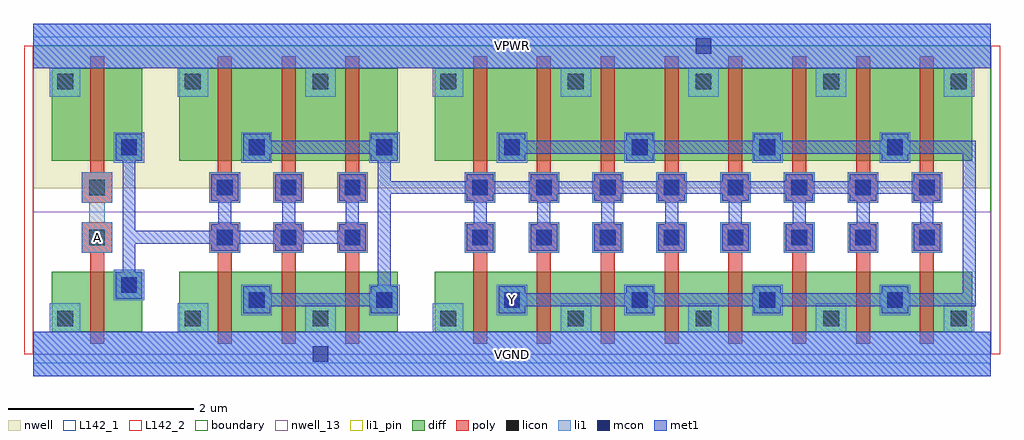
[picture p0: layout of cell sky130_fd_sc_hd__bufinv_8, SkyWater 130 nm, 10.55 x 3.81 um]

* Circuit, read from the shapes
.subckt sky130_fd_sc_hd__bufinv_8 A VGND VPWR Y
XM1 n1 A VGND VSUBS sky130_fd_pr__nfet_01v8 w=0.65 l=0.15
XM2 n2 n1 VGND VSUBS sky130_fd_pr__nfet_01v8 w=0.65 l=0.15 m=3
XM3 Y n2 VGND VSUBS sky130_fd_pr__nfet_01v8 w=0.65 l=0.15 m=8
XM4 n1 A VPWR n3 sky130_fd_pr__pfet_01v8 w=1 l=0.15
XM5 n2 n1 VPWR n3 sky130_fd_pr__pfet_01v8 w=1 l=0.15 m=3
XM6 Y n2 VPWR n3 sky130_fd_pr__pfet_01v8 w=1 l=0.15 m=8
.ends

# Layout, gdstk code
import gdstk
lib = gdstk.Library(unit=1e-6, precision=1e-09)
def R(c, l, rs):  # rectangles x0, y0, x1, y1
    for r in rs: c.add(gdstk.rectangle(r[:2], r[2:], *l))
def A(c, l, x, y, w, h, nx, ny, dx, dy):  # array of equal rectangles
    R(c, l, [(x+i*dx, y+j*dy, x+i*dx+w, y+j*dy+h) for i in range(nx) for j in range(ny)])
def P(c, l, *ps):  # polygons
    for p in ps: c.add(gdstk.Polygon(p, *l))
nwell_13 = (64, 13)
nwell = (64, 20)
diff = (65, 20)
poly = (66, 20)
licon = (66, 44)
li1_pin = (67, 16)
li1 = (67, 20)
mcon = (67, 44)
met1 = (68, 20)
L142_1 = (142, 1)
L142_2 = (142, 2)
boundary = (235, 4)

sky130_fd_sc_hd__bufinv_ = lib.new_cell('sky130_fd_sc_hd__bufinv_8')
R(sky130_fd_sc_hd__bufinv_, nwell_13, [(0,0,10.35,1.54)])
R(sky130_fd_sc_hd__bufinv_, nwell, [(0,1.79,10.35,3.33)])
A(sky130_fd_sc_hd__bufinv_, diff, 4.755, 0.24, 0.69, 0.65, 7, 1, 0.69, 0)
A(sky130_fd_sc_hd__bufinv_, diff, 4.755, 2.09, 0.69, 1, 7, 1, 0.69, 0)
R(sky130_fd_sc_hd__bufinv_, diff, [(0.2,0.24,1.18,0.89), (0.2,0.24,0.615,0.89), (0.615,0.24,1.18,0.89), (1.58,0.24,3.94,0.89), (1.58,0.24,1.995,0.89), (1.995,0.24,2.685,0.89), (2.685,0.24,3.375,0.89), (3.375,0.24,3.94,0.89), (4.34,0.24,10.15,0.89), (4.34,0.24,4.755,0.89), (9.585,0.24,10.15,0.89), (0.2,2.09,1.18,3.09), (0.2,2.09,0.615,3.09), (0.615,2.09,1.18,3.09), (1.58,2.09,3.94,3.09), (1.58,2.09,1.995,3.09), (1.995,2.09,2.685,3.09), (2.685,2.09,3.375,3.09), (3.375,2.09,3.94,3.09), (4.34,2.09,10.15,3.09), (4.34,2.09,4.755,3.09), (9.585,2.09,10.15,3.09)])
P(sky130_fd_sc_hd__bufinv_, poly, [(4.755,0.11),(4.755,1.095),(4.665,1.095),(4.665,1.425),(4.995,1.425),(4.995,1.095),(4.905,1.095),(4.905,0.11)],
  [(5.445,0.11),(5.445,1.095),(5.355,1.095),(5.355,1.425),(5.685,1.425),(5.685,1.095),(5.595,1.095),(5.595,0.11)],
  [(6.135,0.11),(6.135,1.095),(6.045,1.095),(6.045,1.425),(6.375,1.425),(6.375,1.095),(6.285,1.095),(6.285,0.11)],
  [(6.825,0.11),(6.825,1.095),(6.735,1.095),(6.735,1.425),(7.065,1.425),(7.065,1.095),(6.975,1.095),(6.975,0.11)],
  [(7.515,0.11),(7.515,1.095),(7.425,1.095),(7.425,1.425),(7.755,1.425),(7.755,1.095),(7.665,1.095),(7.665,0.11)],
  [(8.205,0.11),(8.205,1.095),(8.115,1.095),(8.115,1.425),(8.445,1.425),(8.445,1.095),(8.355,1.095),(8.355,0.11)],
  [(8.895,0.11),(8.895,1.095),(8.805,1.095),(8.805,1.425),(9.135,1.425),(9.135,1.095),(9.045,1.095),(9.045,0.11)],
  [(9.585,0.11),(9.585,1.095),(9.495,1.095),(9.495,1.425),(9.825,1.425),(9.825,1.095),(9.735,1.095),(9.735,0.11)],
  [(4.665,1.635),(4.665,1.965),(4.755,1.965),(4.755,3.22),(4.905,3.22),(4.905,1.965),(4.995,1.965),(4.995,1.635)],
  [(5.355,1.635),(5.355,1.965),(5.445,1.965),(5.445,3.22),(5.595,3.22),(5.595,1.965),(5.685,1.965),(5.685,1.635)],
  [(6.045,1.635),(6.045,1.965),(6.135,1.965),(6.135,3.22),(6.285,3.22),(6.285,1.965),(6.375,1.965),(6.375,1.635)],
  [(6.735,1.635),(6.735,1.965),(6.825,1.965),(6.825,3.22),(6.975,3.22),(6.975,1.965),(7.065,1.965),(7.065,1.635)],
  [(7.425,1.635),(7.425,1.965),(7.515,1.965),(7.515,3.22),(7.665,3.22),(7.665,1.965),(7.755,1.965),(7.755,1.635)],
  [(8.115,1.635),(8.115,1.965),(8.205,1.965),(8.205,3.22),(8.355,3.22),(8.355,1.965),(8.445,1.965),(8.445,1.635)],
  [(8.805,1.635),(8.805,1.965),(8.895,1.965),(8.895,3.22),(9.045,3.22),(9.045,1.965),(9.135,1.965),(9.135,1.635)],
  [(9.495,1.635),(9.495,1.965),(9.585,1.965),(9.585,3.22),(9.735,3.22),(9.735,1.965),(9.825,1.965),(9.825,1.635)],
  [(0.615,0.11),(0.615,1.095),(0.525,1.095),(0.525,1.425),(0.855,1.425),(0.855,1.095),(0.765,1.095),(0.765,0.11)],
  [(0.525,1.635),(0.525,1.965),(0.615,1.965),(0.615,3.22),(0.765,3.22),(0.765,1.965),(0.855,1.965),(0.855,1.635)],
  [(1.995,0.11),(1.995,1.095),(1.905,1.095),(1.905,1.425),(2.235,1.425),(2.235,1.095),(2.145,1.095),(2.145,0.11)],
  [(2.685,0.11),(2.685,1.095),(2.595,1.095),(2.595,1.425),(2.925,1.425),(2.925,1.095),(2.835,1.095),(2.835,0.11)],
  [(3.375,0.11),(3.375,1.095),(3.285,1.095),(3.285,1.425),(3.615,1.425),(3.615,1.095),(3.525,1.095),(3.525,0.11)],
  [(1.905,1.635),(1.905,1.965),(1.995,1.965),(1.995,3.22),(2.145,3.22),(2.145,1.965),(2.235,1.965),(2.235,1.635)],
  [(2.595,1.635),(2.595,1.965),(2.685,1.965),(2.685,3.22),(2.835,3.22),(2.835,1.965),(2.925,1.965),(2.925,1.635)],
  [(3.285,1.635),(3.285,1.965),(3.375,1.965),(3.375,3.22),(3.525,3.22),(3.525,1.965),(3.615,1.965),(3.615,1.635)])
A(sky130_fd_sc_hd__bufinv_, licon, 0.26, 0.3, 0.17, 0.17, 8, 2, 1.38, 2.56)
A(sky130_fd_sc_hd__bufinv_, licon, 2.33, 0.5, 0.17, 0.17, 6, 1, 1.38, 0)
A(sky130_fd_sc_hd__bufinv_, licon, 1.985, 1.175, 0.17, 0.17, 3, 2, 0.69, 0.54)
A(sky130_fd_sc_hd__bufinv_, licon, 4.745, 1.175, 0.17, 0.17, 8, 2, 0.69, 0.54)
A(sky130_fd_sc_hd__bufinv_, licon, 0.95, 2.15, 0.17, 0.17, 7, 1, 1.38, 0)
R(sky130_fd_sc_hd__bufinv_, licon, [(0.95,0.66,1.12,0.83), (0.605,1.175,0.775,1.345), (0.605,1.715,0.775,1.885)])
R(sky130_fd_sc_hd__bufinv_, li1_pin, [(0,-0.24,10.35,0.24), (5.01,0.42,5.34,0.75), (0,3.09,10.35,3.57)])
P(sky130_fd_sc_hd__bufinv_, li1_pin, [(0.525,1.095),(0.525,1.425),(0.605,1.425),(0.605,1.635),(0.525,1.635),(0.525,1.965),(0.855,1.965),(0.855,1.635),(0.775,1.635),(0.775,1.425),(0.855,1.425),(0.855,1.095)])
A(sky130_fd_sc_hd__bufinv_, li1, 2.25, 0.42, 0.33, 0.33, 6, 1, 1.38, 0)
A(sky130_fd_sc_hd__bufinv_, li1, 1.905, 1.095, 0.33, 0.33, 3, 2, 0.69, 0.54)
A(sky130_fd_sc_hd__bufinv_, li1, 4.665, 1.095, 0.33, 0.33, 8, 2, 0.69, 0.54)
A(sky130_fd_sc_hd__bufinv_, li1, 0.87, 2.07, 0.33, 0.33, 7, 1, 1.38, 0)
R(sky130_fd_sc_hd__bufinv_, li1, [(0.87,0.58,1.2,0.91)])
P(sky130_fd_sc_hd__bufinv_, li1, [(0.18,2.78),(0.18,3.09),(0,3.09),(0,3.57),(10.35,3.57),(10.35,3.09),(10.17,3.09),(10.17,2.78),(9.84,2.78),(9.84,3.09),(8.79,3.09),(8.79,2.78),(8.46,2.78),(8.46,3.09),(7.41,3.09),(7.41,2.78),(7.08,2.78),(7.08,3.09),(6.03,3.09),(6.03,2.78),(5.7,2.78),(5.7,3.09),(4.65,3.09),(4.65,2.78),(4.32,2.78),(4.32,3.09),(3.27,3.09),(3.27,2.78),(2.94,2.78),(2.94,3.09),(1.89,3.09),(1.89,2.78),(1.56,2.78),(1.56,3.09),(0.51,3.09),(0.51,2.78)],
  [(0,-0.24),(0,0.24),(0.18,0.24),(0.18,0.55),(0.51,0.55),(0.51,0.24),(1.56,0.24),(1.56,0.55),(1.89,0.55),(1.89,0.24),(2.94,0.24),(2.94,0.55),(3.27,0.55),(3.27,0.24),(4.32,0.24),(4.32,0.55),(4.65,0.55),(4.65,0.24),(5.7,0.24),(5.7,0.55),(6.03,0.55),(6.03,0.24),(7.08,0.24),(7.08,0.55),(7.41,0.55),(7.41,0.24),(8.46,0.24),(8.46,0.55),(8.79,0.55),(8.79,0.24),(9.84,0.24),(9.84,0.55),(10.17,0.55),(10.17,0.24),(10.35,0.24),(10.35,-0.24)],
  [(0.525,1.095),(0.525,1.425),(0.605,1.425),(0.605,1.635),(0.525,1.635),(0.525,1.965),(0.855,1.965),(0.855,1.635),(0.775,1.635),(0.775,1.425),(0.855,1.425),(0.855,1.095)])
A(sky130_fd_sc_hd__bufinv_, mcon, 2.33, 0.5, 0.17, 0.17, 6, 1, 1.38, 0)
A(sky130_fd_sc_hd__bufinv_, mcon, 1.985, 1.175, 0.17, 0.17, 3, 2, 0.69, 0.54)
A(sky130_fd_sc_hd__bufinv_, mcon, 4.745, 1.175, 0.17, 0.17, 8, 2, 0.69, 0.54)
A(sky130_fd_sc_hd__bufinv_, mcon, 0.95, 2.15, 0.17, 0.17, 7, 1, 1.38, 0)
R(sky130_fd_sc_hd__bufinv_, mcon, [(3.02,-0.085,3.19,0.085), (0.95,0.66,1.12,0.83), (7.16,3.245,7.33,3.415)])
R(sky130_fd_sc_hd__bufinv_, met1, [(0,-0.24,10.35,0.24), (0,3.09,10.35,3.57)])
P(sky130_fd_sc_hd__bufinv_, met1, [(5.03,0.44),(5.03,0.73),(5.32,0.73),(5.32,0.655),(6.41,0.655),(6.41,0.73),(6.7,0.73),(6.7,0.655),(7.79,0.655),(7.79,0.73),(8.08,0.73),(8.08,0.655),(9.17,0.655),(9.17,0.73),(9.46,0.73),(9.46,0.655),(10.05,0.655),(10.05,2.165),(9.46,2.165),(9.46,2.09),(9.17,2.09),(9.17,2.165),(8.08,2.165),(8.08,2.09),(7.79,2.09),(7.79,2.165),(6.7,2.165),(6.7,2.09),(6.41,2.09),(6.41,2.165),(5.32,2.165),(5.32,2.09),(5.03,2.09),(5.03,2.38),(5.32,2.38),(5.32,2.305),(6.41,2.305),(6.41,2.38),(6.7,2.38),(6.7,2.305),(7.79,2.305),(7.79,2.38),(8.08,2.38),(8.08,2.305),(9.17,2.305),(9.17,2.38),(9.46,2.38),(9.46,2.305),(10.19,2.305),(10.19,0.515),(9.46,0.515),(9.46,0.44),(9.17,0.44),(9.17,0.515),(8.08,0.515),(8.08,0.44),(7.79,0.44),(7.79,0.515),(6.7,0.515),(6.7,0.44),(6.41,0.44),(6.41,0.515),(5.32,0.515),(5.32,0.44)],
  [(2.27,0.44),(2.27,0.73),(2.56,0.73),(2.56,0.655),(3.65,0.655),(3.65,0.73),(3.725,0.73),(3.725,2.09),(3.65,2.09),(3.65,2.165),(2.56,2.165),(2.56,2.09),(2.27,2.09),(2.27,2.38),(2.56,2.38),(2.56,2.305),(3.65,2.305),(3.65,2.38),(3.94,2.38),(3.94,2.09),(3.865,2.09),(3.865,1.87),(4.685,1.87),(4.685,1.945),(4.975,1.945),(4.975,1.87),(5.375,1.87),(5.375,1.945),(5.665,1.945),(5.665,1.87),(6.065,1.87),(6.065,1.945),(6.355,1.945),(6.355,1.87),(6.755,1.87),(6.755,1.945),(7.045,1.945),(7.045,1.87),(7.445,1.87),(7.445,1.945),(7.735,1.945),(7.735,1.87),(8.135,1.87),(8.135,1.945),(8.425,1.945),(8.425,1.87),(8.825,1.87),(8.825,1.945),(9.115,1.945),(9.115,1.87),(9.515,1.87),(9.515,1.945),(9.805,1.945),(9.805,1.655),(9.73,1.655),(9.73,1.405),(9.805,1.405),(9.805,1.115),(9.515,1.115),(9.515,1.405),(9.59,1.405),(9.59,1.655),(9.515,1.655),(9.515,1.73),(9.115,1.73),(9.115,1.655),(9.04,1.655),(9.04,1.405),(9.115,1.405),(9.115,1.115),(8.825,1.115),(8.825,1.405),(8.9,1.405),(8.9,1.655),(8.825,1.655),(8.825,1.73),(8.425,1.73),(8.425,1.655),(8.35,1.655),(8.35,1.405),(8.425,1.405),(8.425,1.115),(8.135,1.115),(8.135,1.405),(8.21,1.405),(8.21,1.655),(8.135,1.655),(8.135,1.73),(7.735,1.73),(7.735,1.655),(7.66,1.655),(7.66,1.405),(7.735,1.405),(7.735,1.115),(7.445,1.115),(7.445,1.405),(7.52,1.405),(7.52,1.655),(7.445,1.655),(7.445,1.73),(7.045,1.73),(7.045,1.655),(6.97,1.655),(6.97,1.405),(7.045,1.405),(7.045,1.115),(6.755,1.115),(6.755,1.405),(6.83,1.405),(6.83,1.655),(6.755,1.655),(6.755,1.73),(6.355,1.73),(6.355,1.655),(6.28,1.655),(6.28,1.405),(6.355,1.405),(6.355,1.115),(6.065,1.115),(6.065,1.405),(6.14,1.405),(6.14,1.655),(6.065,1.655),(6.065,1.73),(5.665,1.73),(5.665,1.655),(5.59,1.655),(5.59,1.405),(5.665,1.405),(5.665,1.115),(5.375,1.115),(5.375,1.405),(5.45,1.405),(5.45,1.655),(5.375,1.655),(5.375,1.73),(4.975,1.73),(4.975,1.655),(4.9,1.655),(4.9,1.405),(4.975,1.405),(4.975,1.115),(4.685,1.115),(4.685,1.405),(4.76,1.405),(4.76,1.655),(4.685,1.655),(4.685,1.73),(3.865,1.73),(3.865,0.73),(3.94,0.73),(3.94,0.44),(3.65,0.44),(3.65,0.515),(2.56,0.515),(2.56,0.44)],
  [(0.89,0.6),(0.89,0.89),(0.965,0.89),(0.965,2.09),(0.89,2.09),(0.89,2.38),(1.18,2.38),(1.18,2.09),(1.105,2.09),(1.105,1.33),(1.925,1.33),(1.925,1.405),(2,1.405),(2,1.655),(1.925,1.655),(1.925,1.945),(2.215,1.945),(2.215,1.655),(2.14,1.655),(2.14,1.405),(2.215,1.405),(2.215,1.33),(2.615,1.33),(2.615,1.405),(2.69,1.405),(2.69,1.655),(2.615,1.655),(2.615,1.945),(2.905,1.945),(2.905,1.655),(2.83,1.655),(2.83,1.405),(2.905,1.405),(2.905,1.33),(3.305,1.33),(3.305,1.405),(3.38,1.405),(3.38,1.655),(3.305,1.655),(3.305,1.945),(3.595,1.945),(3.595,1.655),(3.52,1.655),(3.52,1.405),(3.595,1.405),(3.595,1.115),(3.305,1.115),(3.305,1.19),(2.905,1.19),(2.905,1.115),(2.615,1.115),(2.615,1.19),(2.215,1.19),(2.215,1.115),(1.925,1.115),(1.925,1.19),(1.105,1.19),(1.105,0.89),(1.18,0.89),(1.18,0.6)])
R(sky130_fd_sc_hd__bufinv_, L142_1, [(0,-0.1,10.35,0), (0,3.33,10.35,3.43)])
R(sky130_fd_sc_hd__bufinv_, L142_2, [(-0.1,0,0,3.33), (10.35,0,10.45,3.33)])
R(sky130_fd_sc_hd__bufinv_, boundary, [(0,0,10.35,3.33)])
sky130_fd_sc_hd__bufinv_.add(gdstk.Label('Y', (5.175,0.585), layer=67, texttype=5))
sky130_fd_sc_hd__bufinv_.add(gdstk.Label('A', (0.69,1.26), layer=67, texttype=5))
sky130_fd_sc_hd__bufinv_.add(gdstk.Label('VGND', (5.175,0), layer=67, texttype=5))
sky130_fd_sc_hd__bufinv_.add(gdstk.Label('VPWR', (5.175,3.33), layer=67, texttype=5))
sky130_fd_sc_hd__bufinv_.add(gdstk.Label('VGND', (5.175,0), layer=68, texttype=5))
sky130_fd_sc_hd__bufinv_.add(gdstk.Label('VPWR', (5.175,3.33), layer=68, texttype=5))

lib.write_gds('sky130_fd_sc_hd__bufinv_8.gds')
